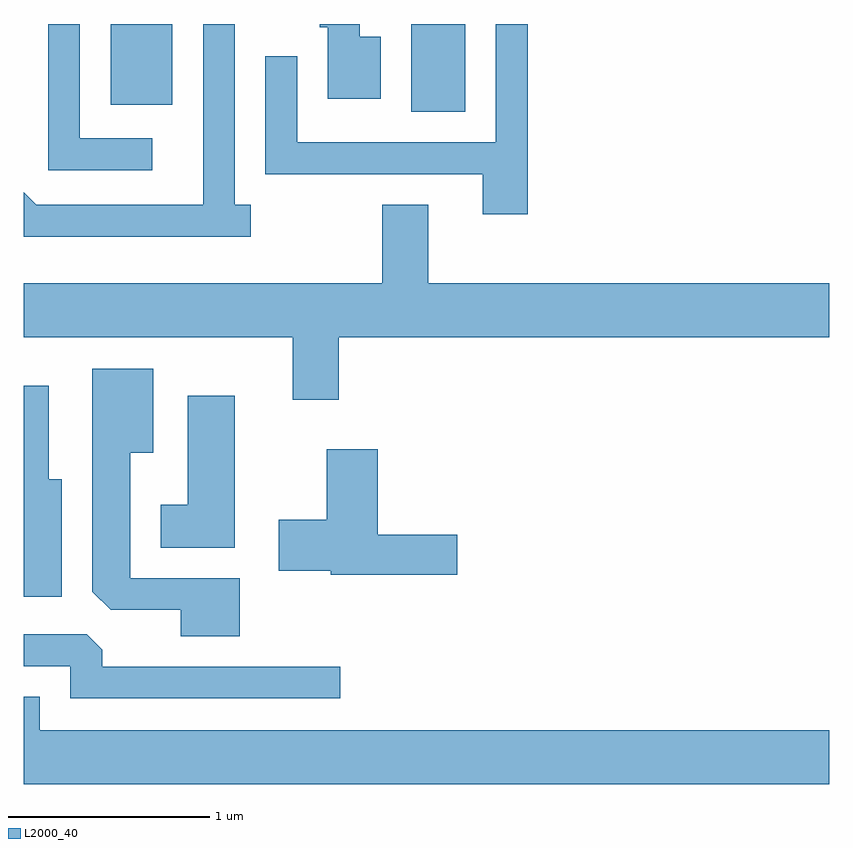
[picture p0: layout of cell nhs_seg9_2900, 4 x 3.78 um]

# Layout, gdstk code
import gdstk
lib = gdstk.Library(unit=1e-6, precision=1e-09)
def R(c, l, rs):  # rectangles x0, y0, x1, y1
    for r in rs: c.add(gdstk.rectangle(r[:2], r[2:], *l))
def P(c, l, *ps):  # polygons
    for p in ps: c.add(gdstk.Polygon(p, *l))
L2000_40 = (2000, 40)

nhs_seg9_2900 = lib.new_cell('nhs_seg9_2900')
R(nhs_seg9_2900, L2000_40, [(271.536,2043.996,271.804,2044.432), (270.041,2044.031,270.349,2044.432)])
P(nhs_seg9_2900, L2000_40, [(270.738,2043.534),(270.659,2043.534),(270.659,2044.432),(270.501,2044.432),(270.501,2043.534),(269.672,2043.534),(269.611,2043.595),(269.611,2043.376),(270.738,2043.376)],
  [(272.114,2044.432),(271.956,2044.432),(271.956,2043.844),(270.969,2043.844),(270.969,2044.273),(270.811,2044.273),(270.811,2043.686),(271.891,2043.686),(271.891,2043.486),(272.114,2043.486)],
  [(270.248,2043.864),(269.889,2043.864),(269.889,2044.432),(269.731,2044.432),(269.731,2043.706),(270.248,2043.706)],
  [(271.384,2044.369),(271.279,2044.369),(271.279,2044.432),(271.081,2044.432),(271.081,2044.416),(271.121,2044.416),(271.121,2044.061),(271.384,2044.061)],
  [(271.174,2042.876),(273.611,2042.876),(273.611,2043.144),(271.619,2043.144),(271.619,2043.534),(271.391,2043.534),(271.391,2043.144),(269.611,2043.144),(269.611,2042.876),(270.946,2042.876),(270.946,2042.566),(271.174,2042.566)],
  [(270.684,2041.679),(270.139,2041.679),(270.139,2042.301),(270.254,2042.301),(270.254,2042.719),(269.951,2042.719),(269.951,2041.612),(270.042,2041.521),(270.391,2041.521),(270.391,2041.391),(270.684,2041.391)],
  [(269.799,2042.169),(269.734,2042.169),(269.734,2042.634),(269.611,2042.634),(269.611,2041.586),(269.799,2041.586)],
  [(270.659,2042.584),(270.426,2042.584),(270.426,2042.044),(270.291,2042.044),(270.291,2041.831),(270.659,2041.831)],
  [(271.764,2041.894),(271.369,2041.894),(271.369,2042.319),(271.116,2042.319),(271.116,2041.969),(270.876,2041.969),(270.876,2041.716),(271.136,2041.716),(271.136,2041.696),(271.764,2041.696)],
  [(271.183,2041.239),(269.999,2041.239),(269.999,2041.324),(269.924,2041.399),(269.611,2041.399),(269.611,2041.241),(269.841,2041.241),(269.841,2041.081),(271.183,2041.081)],
  [(269.611,2041.089),(269.611,2040.656),(273.611,2040.656),(273.611,2040.924),(269.689,2040.924),(269.689,2041.089)])

lib.write_gds('nhs_seg9_2900.gds')
